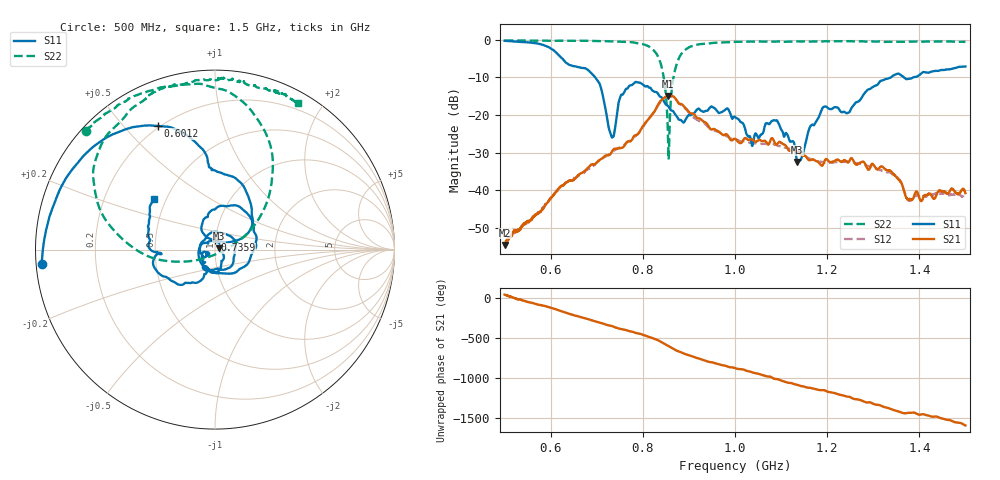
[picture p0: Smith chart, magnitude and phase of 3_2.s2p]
!Agilent Technologies,E8364B,US42250235,A.06.04.32
!Agilent E8364B: A.06.04.32
!Date: Thursday, October 01, 2020 14:29:04
!Correction: S11(Full 2 Port(1,2)) S21(Full 2 Port(1,2)) S12(Full 2 Port(1,2)) S22(Full 2 Port(1,2))
!S2P File: Measurements: S11, S21, S12, S22:
# Hz S  dB  R 50
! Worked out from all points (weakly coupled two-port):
!   2650 points, 500 MHz to 1.5 GHz, reference 50 ohm
!   highest |S21| = -14.98 dB at 855.2 MHz (marker M1); lowest = -54.6 dB at 500.8 MHz (marker M2)
!   lowest |S11| = -32.5 dB at 1.135 GHz (marker M3), VSWR 1.05, Z = 52.3 + j0.753 ohm
!   |S11| at or under -10 dB: 696.6 MHz to 1.338 GHz (641.8 MHz wide, 63.1 % of centre); 1.367 GHz to 1.387 GHz (20.22 MHz wide, 1.47 % of centre)
!   |S22| runs from -31.9 to -0.2 dB; largest |S21 - S12| = 0.011
!   S11 on the Smith chart (normalised r, x): 500 MHz: 0.02, -0.04; 601.2 MHz: 0.19, +0.62; 735.9 MHz: 0.99, +0.10; 1.5 GHz: 0.43, +0.30
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5e8  -0.28 -175.4  -54.32 37.1  -54.88 36.6  -0.21 137.5
5.00755e8  -0.28 -175.7  -54.58 36.4  -54.75 34.9  -0.21 137.4
5.551151e8  -0.75 152.8  -48.07 -61.1  -48.03 -60.1  -0.23 131.6
6.011703e8  -2.39 114.8  -42.01 -128.2  -41.89 -126.4  -0.29 126.5
6.668554e8  -7.49 82.8  -35.39 114.1  -35.83 115.7  -0.27 119.7
7.04983e8  -11.40 38.6  -32.06 50.5  -32.30 54.5  -0.36 113.9
7.359381e8  -25.79 91.7  -29.19 -0.6  -29.60 2.4  -0.44 108.1
7.680257e8  -12.71 88.3  -27.02 -54.1  -27.10 -50.3  -0.62 97.8
8.337108e8  -14.52 -30.8  -17.11 -173.0  -17.40 -170.9  -4.68 56.5
8.454134e8  -16.30 -61.1  -15.51 150.3  -15.68 153.1  -10.09 36.3
8.552284e8  -17.67 -88.2  -14.98 117.9  -15.13 121.0  -29.08 -21.8
8.680634e8  -19.42 -138.0  -15.25 76.2  -15.50 79.1  -8.99 -172.7
8.854285e8  -21.73 144.1  -17.25 33.1  -17.60 34.2  -3.49 161.6
9.420536e8  -18.59 -28.0  -22.88 -78.0  -23.19 -72.4  -1.02 125.5
1.000189e9  -20.57 -136.2  -26.36 -157.7  -26.50 -155.6  -0.57 112.7
1.036806e9  -28.13 -154.4  -26.44 151.4  -27.55 152.1  -0.49 109.7
1.089656e9  -21.42 168.7  -27.93 66.9  -28.03 71.4  -0.48 104.1
1.134579e9  -32.47 17.6  -29.76 -4.0  -29.87 -0.5  -0.44 96.5
1.166667e9  -22.60 -55.3  -31.83 -46.8  -31.87 -42.5  -0.48 91.9
1.333522e9  -10.24 -149.1  -34.73 64.3  -35.21 74.3  -0.54 76.5
1.378445e9  -10.38 -175.1  -42.45 7.2  -42.84 14.7  -0.52 69.8
1.5e9  -7.12 140.7  -40.78 -150.0  -42.06 -140.2  -0.57 60.5
